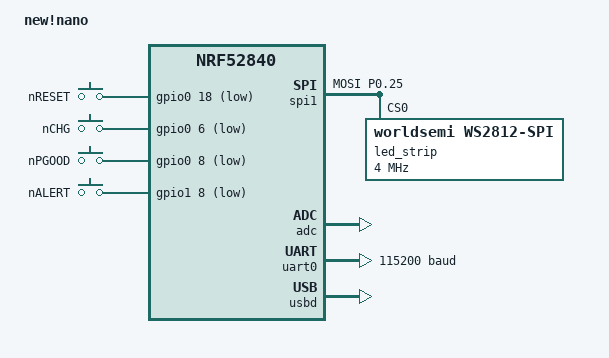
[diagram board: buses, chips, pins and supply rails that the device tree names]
/*
 * Copyright (c) 2021 The ZMK Contributors
 *
 * SPDX-License-Identifier: MIT
 */

#include <nordic/nrf52840_qiaa.dtsi>
#include <zephyr/dt-bindings/input/input-event-codes.h>
#include <dt-bindings/led/led.h>
#include "new_nano-pinctrl.dtsi"
#include "arduino_pro_micro_pins.dtsi"

/ {
    model = "new!nano";
    compatible = "new,nano";

    chosen {
        zephyr,code-partition = &code_partition;
        zephyr,sram = &sram0;
        zephyr,flash = &flash0;
    };

    buttons {
		compatible = "gpio-keys";

		button0: button_0 {
			gpios = <&gpio0 18 (GPIO_PULL_UP | GPIO_ACTIVE_LOW)>;
			label = "nRESET";
			zephyr,code = <INPUT_KEY_0>;
		};

		button1: button_1{
			gpios = <&gpio0 6 (GPIO_PULL_UP | GPIO_ACTIVE_LOW)>;
			label = "nCHG";
			zephyr,code = <INPUT_KEY_1>;
		};
		button2: button_2{
			gpios = <&gpio0 8 (GPIO_PULL_UP | GPIO_ACTIVE_LOW)>;
			label = "nPGOOD";
			zephyr,code = <INPUT_KEY_2>;
		};
		button3: button_3{
			gpios = <&gpio1 8 (GPIO_PULL_UP | GPIO_ACTIVE_LOW)>;
			label = "nALERT";
			zephyr,code = <INPUT_KEY_3>;
		};
    };
};


&pinctrl {
	spi1_default: spi1_default {
		group1 {
		psels = <NRF_PSEL(SPIM_MOSI, 0, 25)>;
		};
	};

	spi1_sleep: spi1_sleep {
		group1 {
		psels = <NRF_PSEL(SPIM_MOSI, 0, 25)>;
		low-power-enable;
		};
	};
};

&spi1 {
	compatible = "nordic,nrf-spim";
	status = "okay";

	pinctrl-0 = <&spi1_default>;
	pinctrl-1 = <&spi1_sleep>;
	pinctrl-names = "default", "sleep";

	led_strip: ws2812@0 {
		compatible = "worldsemi,ws2812-spi";

		/* SPI */
		reg = <0>; /* ignored, but necessary for SPI bindings */
		spi-max-frequency = <4000000>;

		/* WS2812 */
		chain-length = <10>; /* number of LEDs */
		spi-one-frame = <0x70>;
		spi-zero-frame = <0x40>;
		color-mapping = <LED_COLOR_ID_GREEN
				LED_COLOR_ID_RED
				LED_COLOR_ID_BLUE>;
	};
};

&adc {
    status = "okay";
};

&gpiote {
    status = "okay";
};

&gpio0 {
    status = "okay";
};

&gpio1 {
    status = "okay";
};

&i2c0 {
    compatible = "nordic,nrf-twi";
    pinctrl-0 = <&i2c0_default>;
    pinctrl-1 = <&i2c0_sleep>;
    pinctrl-names = "default", "sleep";
};

&spi1 {
    compatible = "nordic,nrf-spim";
    pinctrl-0 = <&spi1_default>;
    pinctrl-1 = <&spi1_sleep>;
    pinctrl-names = "default", "sleep";
};

&uart0 {
    compatible = "nordic,nrf-uarte";
    current-speed = <115200>;
    pinctrl-0 = <&uart0_default>;
    pinctrl-1 = <&uart0_sleep>;
    pinctrl-names = "default", "sleep";
};

zephyr_udc0: &usbd {
    status = "okay";
};


&flash0 {
    /*
     * For more information, see:
     * http://docs.zephyrproject.org/latest/devices/dts/flash_partitions.html
     */
    partitions {
        compatible = "fixed-partitions";
        #address-cells = <1>;
        #size-cells = <1>;

        sd_partition: partition@0 {
            reg = <0x00000000 0x00026000>;
        };
        code_partition: partition@26000 {
            reg = <0x00026000 0x000c6000>;
        };

        /*
         * The flash starting at 0x000ec000 and ending at
         * 0x000f3fff is reserved for use by the application.
         */

        /*
         * Storage partition will be used by FCB/LittleFS/NVS
         * if enabled.
         */
        storage_partition: partition@ec000 {
            reg = <0x000ec000 0x00008000>;
        };

        boot_partition: partition@f4000 {
            reg = <0x000f4000 0x0000c000>;
        };
    };
};
